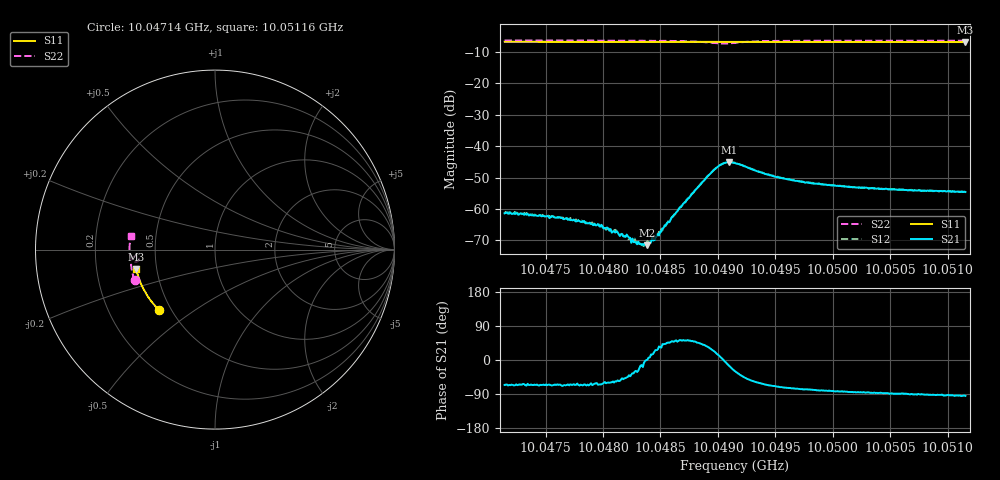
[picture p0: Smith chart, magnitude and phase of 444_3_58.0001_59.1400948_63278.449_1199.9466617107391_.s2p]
#  HZ  S  RI  R  50.00
! Rohde & Schwarz Vector Network Analyzer
! Rohde-Schwarz,ZNB20-2Port,1311601062101988,3.16
! Created: UTC 3/21/2024, 1:10:11 AM
! freq[Hz]  re:S11  im:S11  re:S21  im:S21  re:S12  im:S12  re:S22  im:S22
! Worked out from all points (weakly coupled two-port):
!   401 points, 10.04714 GHz to 10.05116 GHz, reference 50 ohm
!   highest |S21| = -45.10 dB at 10.0491 GHz (marker M1); lowest = -71.5 dB at 10.04839 GHz (marker M2)
!   lowest |S11| = -6.9 dB at 10.05116 GHz (marker M3), VSWR 2.65, Z = 19.1 - j5.24 ohm
!   |S11| at or under -10 dB: nowhere
!   |S22| runs from -7.4 to -6.4 dB; largest |S21 - S12| = 0.00037
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1.0047143e10  -0.3125 -0.3363  0.000349 -0.000776  0.00044 -0.000791  -0.4479 -0.1715
1.0047624e10  -0.3345 -0.3131  0.000315 -0.00067  0.000337 -0.000649  -0.4576 -0.14
1.0047815e10  -0.3426 -0.3035  0.000253 -0.000567  0.000324 -0.000568  -0.4608 -0.1271
1.0047975e10  -0.3492 -0.2954  0.000226 -0.000473  0.000291 -0.000442  -0.4632 -0.116
1.0048015e10  -0.3509 -0.2933  0.000263 -0.000421  0.000275 -0.000426  -0.4638 -0.113
1.0048126e10  -0.3554 -0.2876  0.000251 -0.000343  0.000277 -0.000326  -0.465 -0.1049
1.0048206e10  -0.3586 -0.2832  0.000272 -0.00028  0.000253 -0.000227  -0.4659 -0.0991
1.0048266e10  -0.3609 -0.2801  0.000242 -0.00017  0.00026 -0.000166  -0.4665 -0.0945
1.0048336e10  -0.3636 -0.2764  0.00026 -6.29e-05  0.000261 -5.44e-05  -0.4671 -0.0889
1.0048387e10  -0.3655 -0.2736  0.000266 5.53e-06  0.000314 2.33e-05  -0.4673 -0.0849
1.0048437e10  -0.3674 -0.271  0.000302 8.92e-05  0.000301 0.000144  -0.4673 -0.0806
1.0048487e10  -0.3692 -0.2683  0.000307 0.000223  0.000338 0.000272  -0.4673 -0.0763
1.0048678e10  -0.3761 -0.2577  0.000658 0.00085  0.000628 0.000883  -0.465 -0.0585
1.0048928e10  -0.3846 -0.2436  0.00303 0.00186  0.00296 0.00209  -0.4424 -0.0359
1.0049019e10  -0.3873 -0.2385  0.0049 0.000765  0.00488 0.00112  -0.4265 -0.0431
1.0049099e10  -0.3899 -0.2342  0.00535 -0.00149  0.00545 -0.00115  -0.4258 -0.0604
1.0049149e10  -0.3917 -0.2314  0.00468 -0.00266  0.00488 -0.00237  -0.4338 -0.0675
1.004949e10  -0.4023 -0.2117  0.0012 -0.00305  0.00141 -0.00304  -0.4692 -0.0445
1.0049821e10  -0.4115 -0.192  0.000504 -0.00251  0.000651 -0.00252  -0.4752 -0.0165
1.0050152e10  -0.4198 -0.1719  0.000218 -0.00221  0.000363 -0.00222  -0.476 0.00826
1.0050493e10  -0.4272 -0.1508  4.03e-05 -0.00207  0.000181 -0.00205  -0.4754 0.0325
1.0051156e10  -0.4388 -0.1091  -0.000152 -0.00186  -4.47e-05 -0.00187  -0.4699 0.077
